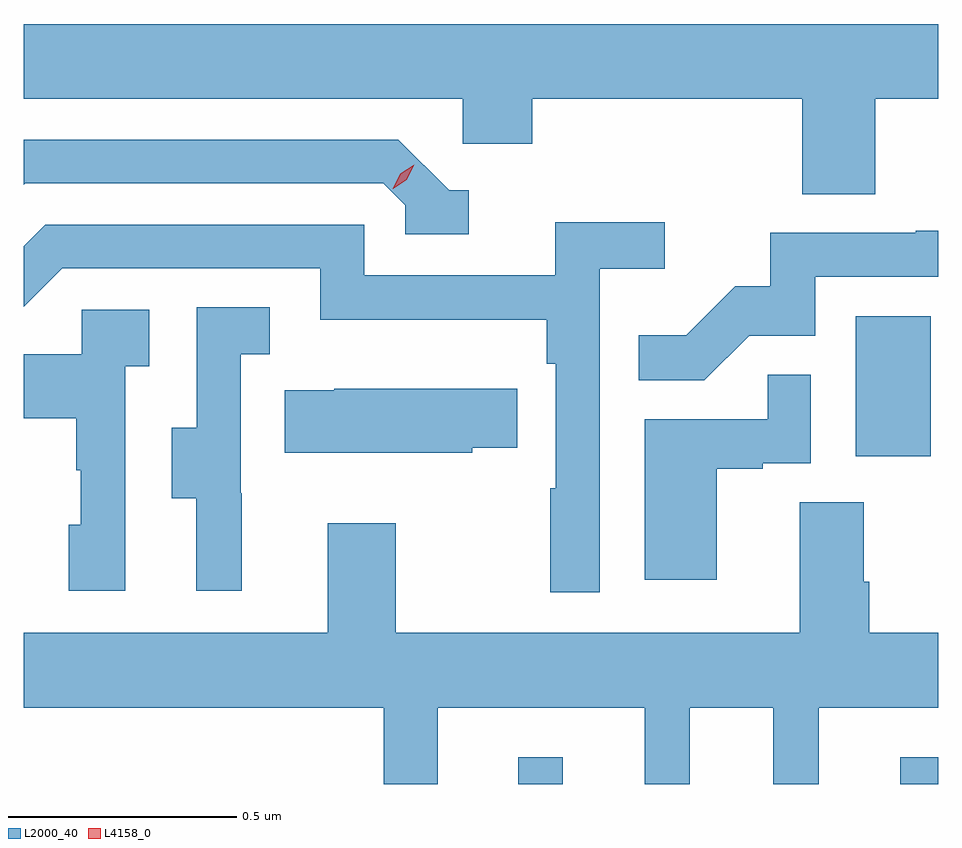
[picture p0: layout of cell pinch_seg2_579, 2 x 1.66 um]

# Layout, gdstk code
import gdstk
lib = gdstk.Library(unit=1e-6, precision=1e-09)
def R(c, l, rs):  # rectangles x0, y0, x1, y1
    for r in rs: c.add(gdstk.rectangle(r[:2], r[2:], *l))
def P(c, l, *ps):  # polygons
    for p in ps: c.add(gdstk.Polygon(p, *l))
L2000_40 = (2000, 40)
L4158_0 = (4158, 0)

pinch_seg2_579 = lib.new_cell('pinch_seg2_579')
R(pinch_seg2_579, L2000_40, [(1134.764,611.505,1134.861,611.563), (1135.599,611.505,1135.682,611.563), (1135.502,612.222,1135.666,612.529)])
P(pinch_seg2_579, L2000_40, [(1135.545,613.004),(1135.682,613.004),(1135.682,613.168),(1133.682,613.168),(1133.682,613.004),(1134.642,613.004),(1134.642,612.906),(1134.794,612.906),(1134.794,613.004),(1135.385,613.004),(1135.385,612.796),(1135.545,612.796)],
  [(1134.655,612.804),(1134.612,612.804),(1134.501,612.915),(1133.682,612.915),(1133.682,612.816),(1133.685,612.819),(1134.468,612.819),(1134.516,612.771),(1134.516,612.708),(1134.655,612.708)],
  [(1134.942,612.632),(1135.084,612.632),(1135.084,612.734),(1134.845,612.734),(1134.845,612.618),(1134.426,612.618),(1134.426,612.729),(1133.729,612.729),(1133.682,612.682),(1133.682,612.549),(1133.766,612.633),(1134.33,612.633),(1134.33,612.521),(1134.826,612.521),(1134.826,612.425),(1134.846,612.425),(1134.846,612.152),(1134.834,612.152),(1134.834,611.925),(1134.942,611.925)],
  [(1135.269,612.486),(1135.413,612.486),(1135.413,612.615),(1135.682,612.615),(1135.682,612.716),(1135.633,612.716),(1135.633,612.711),(1135.315,612.711),(1135.315,612.594),(1135.238,612.594),(1135.131,612.487),(1135.027,612.487),(1135.027,612.388),(1135.171,612.388)],
  [(1134.158,612.141),(1134.156,612.141),(1134.156,612.445),(1134.22,612.445),(1134.22,612.548),(1134.06,612.548),(1134.06,612.285),(1134.005,612.285),(1134.005,612.13),(1134.059,612.13),(1134.059,611.928),(1134.158,611.928)],
  [(1133.904,612.419),(1133.956,612.419),(1133.956,612.543),(1133.808,612.543),(1133.808,612.445),(1133.682,612.445),(1133.682,612.305),(1133.796,612.305),(1133.796,612.191),(1133.806,612.191),(1133.806,612.072),(1133.78,612.072),(1133.78,611.928),(1133.904,611.928)],
  [(1135.198,612.195),(1135.298,612.195),(1135.298,612.207),(1135.404,612.207),(1135.404,612.401),(1135.309,612.401),(1135.309,612.303),(1135.04,612.303),(1135.04,611.952),(1135.198,611.952)],
  [(1134.663,612.241),(1134.761,612.241),(1134.761,612.37),(1134.361,612.37),(1134.361,612.367),(1134.253,612.367),(1134.253,612.23),(1134.663,612.23)],
  [(1134.587,611.672),(1135.04,611.672),(1135.04,611.505),(1135.139,611.505),(1135.139,611.672),(1135.322,611.672),(1135.322,611.505),(1135.421,611.505),(1135.421,611.672),(1135.682,611.672),(1135.682,611.836),(1135.532,611.836),(1135.532,611.948),(1135.519,611.948),(1135.519,612.122),(1135.379,612.122),(1135.379,611.836),(1134.495,611.836),(1134.495,612.076),(1134.347,612.076),(1134.347,611.836),(1133.682,611.836),(1133.682,611.672),(1134.469,611.672),(1134.469,611.505),(1134.587,611.505)])
P(pinch_seg2_579, L4158_0, [(1134.489,612.807),(1134.489,612.808),(1134.505,612.84),(1134.536,612.86),(1134.536,612.86),(1134.536,612.86),(1134.52,612.827),(1134.49,612.807)])

lib.write_gds('pinch_seg2_579.gds')
